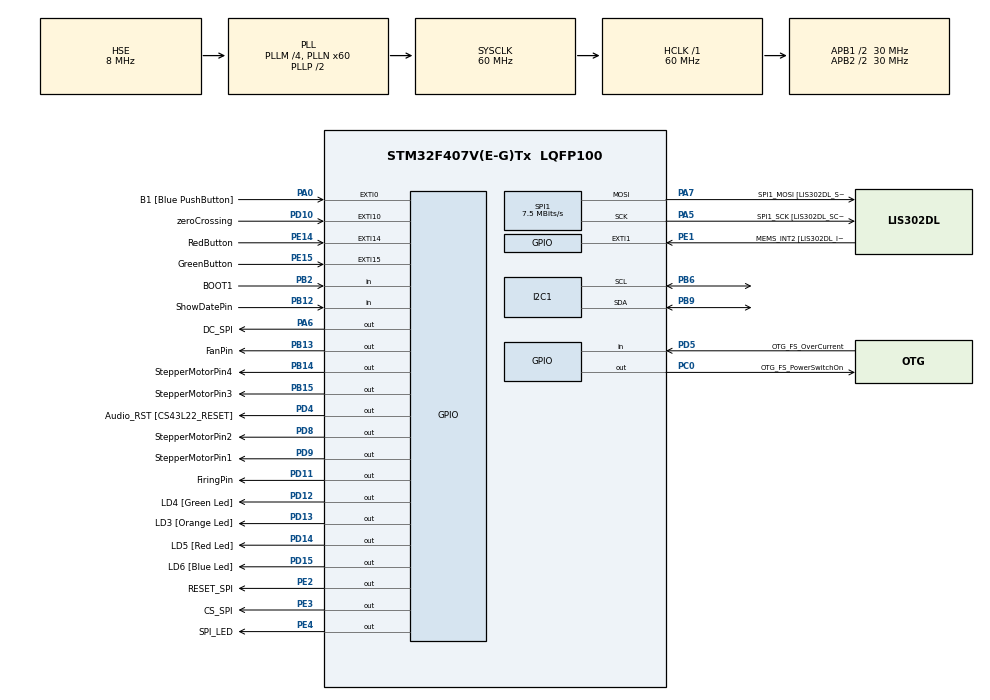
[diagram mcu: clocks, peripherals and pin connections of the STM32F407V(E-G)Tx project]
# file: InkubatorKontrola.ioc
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Mcu.Family=STM32F4
Mcu.Name=STM32F407V(E-G)Tx
Mcu.Package=LQFP100
NVIC.EXTI15_10_IRQn=true\:0\:0\:false\:false\:true\:true\:true
NVIC.PriorityGroup=NVIC_PRIORITYGROUP_0
NVIC.TIM2_IRQn=true\:0\:0\:false\:false\:true\:true\:true
NVIC.TIM5_IRQn=true\:0\:0\:false\:false\:true\:true\:true
PA0-WKUP.GPIO_Label=B1 [Blue PushButton]
PA0-WKUP.GPIO_ModeDefaultEXTI=GPIO_MODE_EVT_RISING
PA0-WKUP.GPIO_PuPd=GPIO_NOPULL
PA0-WKUP.Signal=GPXTI0
PA13.GPIO_Label=SWDIO
PA13.Mode=Serial_Wire
PA13.Signal=SYS_JTMS-SWDIO
PA14.GPIO_Label=SWCLK
PA14.Mode=Serial_Wire
PA14.Signal=SYS_JTCK-SWCLK
PA5.GPIO_Label=SPI1_SCK [LIS302DL_SCL/SPC]
PA5.GPIO_Mode=GPIO_MODE_AF_PP
PA5.GPIO_PuPd=GPIO_NOPULL
PA5.GPIO_Speed=GPIO_SPEED_FREQ_LOW
PA5.Mode=TX_Only_Simplex_Unidirect_Master
PA5.Signal=SPI1_SCK
PA6.GPIO_Label=DC_SPI
PA6.Signal=GPIO_Output
PA7.GPIO_Label=SPI1_MOSI [LIS302DL_SDA/SDI/SDO]
PA7.GPIO_Mode=GPIO_MODE_AF_PP
PA7.GPIO_PuPd=GPIO_NOPULL
PA7.GPIO_Speed=GPIO_SPEED_FREQ_LOW
PA7.Mode=TX_Only_Simplex_Unidirect_Master
PA7.Signal=SPI1_MOSI
PB12.GPIO_Label=ShowDatePin
PB12.Signal=GPIO_Input
PB13.GPIO_Label=FanPin
PB13.Signal=GPIO_Output
PB14.GPIO_Label=StepperMotorPin4
PB14.Signal=GPIO_Output
PB15.GPIO_Label=StepperMotorPin3
PB15.Signal=GPIO_Output
PB2.GPIO_Label=BOOT1
PB2.GPIO_Mode=GPIO_MODE_INPUT
PB2.GPIO_PuPd=GPIO_NOPULL
PB2.Signal=GPIO_Input
PB6.Mode=I2C
PB6.Signal=I2C1_SCL
PB9.Mode=I2C
PB9.Signal=I2C1_SDA
PC0.GPIO_Label=OTG_FS_PowerSwitchOn
PC0.GPIO_PuPd=GPIO_NOPULL
PC0.GPIO_Speed=GPIO_SPEED_FREQ_LOW
PC0.PinState=GPIO_PIN_SET
PC0.Signal=GPIO_Output
PC14-OSC32_IN.GPIO_Label=PC14-OSC32_IN
PC14-OSC32_IN.Mode=LSE-External-Oscillator
PC14-OSC32_IN.Signal=RCC_OSC32_IN
PC15-OSC32_OUT.GPIO_Label=PC15-OSC32_OUT
PC15-OSC32_OUT.Mode=LSE-External-Oscillator
PC15-OSC32_OUT.Signal=RCC_OSC32_OUT
PD10.GPIO_Label=zeroCrossing
PD10.Signal=GPXTI10
PD11.GPIO_Label=FiringPin
PD11.Signal=GPIO_Output
PD12.GPIO_Label=LD4 [Green Led]
PD12.GPIO_PuPd=GPIO_NOPULL
PD12.GPIO_Speed=GPIO_SPEED_FREQ_LOW
PD12.Signal=GPIO_Output
PD13.GPIO_Label=LD3 [Orange Led]
PD13.GPIO_PuPd=GPIO_NOPULL
PD13.GPIO_Speed=GPIO_SPEED_FREQ_LOW
PD13.Signal=GPIO_Output
PD14.GPIO_Label=LD5 [Red Led]
PD14.GPIO_PuPd=GPIO_NOPULL
PD14.GPIO_Speed=GPIO_SPEED_FREQ_LOW
PD14.Signal=GPIO_Output
PD15.GPIO_Label=LD6 [Blue Led]
PD15.GPIO_PuPd=GPIO_NOPULL
PD15.GPIO_Speed=GPIO_SPEED_FREQ_LOW
PD15.Signal=GPIO_Output
PD4.GPIO_Label=Audio_RST [CS43L22_RESET]
PD4.GPIO_PuPd=GPIO_NOPULL
PD4.GPIO_Speed=GPIO_SPEED_FREQ_LOW
PD4.Signal=GPIO_Output
PD5.GPIO_Label=OTG_FS_OverCurrent
PD5.GPIO_Mode=GPIO_MODE_INPUT
PD5.GPIO_PuPd=GPIO_NOPULL
PD5.Signal=GPIO_Input
PD8.GPIO_Label=StepperMotorPin2
PD8.Signal=GPIO_Output
PD9.GPIO_Label=StepperMotorPin1
PD9.Signal=GPIO_Output
PE1.GPIO_Label=MEMS_INT2 [LIS302DL_INT2]
PE1.GPIO_ModeDefaultEXTI=GPIO_MODE_EVT_RISING
PE1.GPIO_PuPd=GPIO_NOPULL
PE1.Signal=GPXTI1
PE14.GPIO_Label=RedButton
PE14.Signal=GPXTI14
PE15.GPIO_Label=GreenButton
PE15.Signal=GPXTI15
PE2.GPIO_Label=RESET_SPI
PE2.Signal=GPIO_Output
PE3.GPIO_Label=CS_SPI
PE3.GPIO_PuPd=GPIO_NOPULL
PE3.GPIO_Speed=GPIO_SPEED_FREQ_LOW
PE3.Signal=GPIO_Output
PE4.GPIO_Label=SPI_LED
PE4.Signal=GPIO_Output
PH0-OSC_IN.GPIO_Label=PH0-OSC_IN
PH0-OSC_IN.Mode=HSE-External-Oscillator
PH0-OSC_IN.Signal=RCC_OSC_IN
PH1-OSC_OUT.GPIO_Label=PH1-OSC_OUT
PH1-OSC_OUT.Mode=HSE-External-Oscillator
PH1-OSC_OUT.Signal=RCC_OSC_OUT
ProjectManager.HeapSize=0x200
ProjectManager.StackSize=0x400
ProjectManager.TargetToolchain=STM32CubeIDE
RCC.48MHZClocksFreq_Value=17142857.14285714
RCC.AHBFreq_Value=60000000
RCC.APB1CLKDivider=RCC_HCLK_DIV2
RCC.APB1Freq_Value=30000000
RCC.APB1TimFreq_Value=60000000
RCC.APB2CLKDivider=RCC_HCLK_DIV2
RCC.APB2Freq_Value=30000000
RCC.APB2TimFreq_Value=60000000
RCC.CortexFreq_Value=60000000
RCC.HCLKFreq_Value=60000000
RCC.HSE_VALUE=8000000
RCC.HSI_VALUE=16000000
RCC.PLLM=4
RCC.PLLN=60
RCC.PLLQ=7
RCC.PLLSourceVirtual=RCC_PLLSOURCE_HSE
RCC.SYSCLKFreq_VALUE=60000000
RCC.SYSCLKSource=RCC_SYSCLKSOURCE_PLLCLK
RCC.VCOOutputFreq_Value=120000000
SPI1.BaudRatePrescaler=SPI_BAUDRATEPRESCALER_4
SPI1.CalculateBaudRate=7.5 MBits/s
SPI1.Direction=SPI_DIRECTION_2LINES
SPI1.Mode=SPI_MODE_MASTER
SPI1.VirtualType=VM_MASTER
TIM2.Period=1
TIM2.Prescaler=59999
TIM2.TIM_MasterOutputTrigger=TIM_TRGO_UPDATE
TIM5.Period=0xfffffff
TIM5.Prescaler=59
TIM5.TIM_MasterOutputTrigger=TIM_TRGO_UPDATE
VP_TIM2_VS_ClockSourceINT.Mode=Internal
VP_TIM5_VS_ClockSourceINT.Mode=Internal
board=STM32F407G-DISC1

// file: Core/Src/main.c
/* USER CODE BEGIN Header */
/**
  ******************************************************************************
  * @file           : main.c
  * @brief          : Main program body
  ******************************************************************************
  * @attention
  *
  * <h2><center>&copy; Copyright (c) 2020 STMicroelectronics.
  * All rights reserved.</center></h2>
  *
  * This software component is licensed by ST under Ultimate Liberty license
  * SLA0044, the "License"; You may not use this file except in compliance with
  * the License. You may obtain a copy of the License at:
  *                             www.st.com/SLA0044
  *
  ******************************************************************************
  */
/* USER CODE END Header */

#include "main.h"

/* USER CODE BEGIN Includes */
#define VAR_DECLS 1
#include "variables.h"
#include "functions.h"
#include "BMP280.h"
#include  <stdbool.h>
#include <stdio.h>
#include <stdlib.h>
#include <string.h>
//#include "unit_tests.h"
/* USER CODE END Includes */

I2C_HandleTypeDef hi2c1;

SPI_HandleTypeDef hspi1;

TIM_HandleTypeDef htim2;
TIM_HandleTypeDef htim5;

/* USER CODE BEGIN PV */
float Kp=14400.00;			//Kp PID kontrolera 1400 OK stavljen 2400 test
float Ki=200.2;				//Ki PID kontrolera-7.2 OK stavljen 10.2 test
float Kd=1.30;				//Kd PID kontrolera
char lcd_string[100];		//string za ispisivanje  na LCD

TIME time; //object struct u koji se upisuju podaci iz stringa
/* USER CODE END PV */

void SystemClock_Config(void);
static void MX_GPIO_Init(void);
static void MX_I2C1_Init(void);
static void MX_SPI1_Init(void);
static void MX_TIM2_Init(void);
static void MX_TIM5_Init(void);
/* USER CODE BEGIN PFP */
//void HAL_TIM_PeriodElapsedCallback(TIM_HandleTypeDef *htim);

/* USER CODE END PFP */

/* USER CODE BEGIN 0 */
static int counter_test=0;
/* USER CODE END 0 */

int main(void)
{
  /* USER CODE BEGIN 1 */

#define TIME_FOR_COMPLETION			30240u
	uint8_t startDay,startMonth,startHour,StartMinute;															//start day,month,hour,minute
	uint8_t currentDay,currentMonth,currentHour,currentMinute,previousHour,previousDay,previousMinute;			//current and previous month,day,hour, minute

 	static uint8_t  remainingDays=0;
 	static uint16_t	remainingHours=0;
 	static uint8_t 	currentDayCnt=0;
 	static uint16_t	remainingMinutes=0;
 	static uint8_t	curentHrsCnt=0;
 	static uint8_t	currentMinCnt=0;
	bool incubationStarted=FALSE;
	bool incubationFinished=FALSE;
	bool stepperControlActive=FALSE;
	static bool daySts=TRUE;
	static bool hourSts=TRUE;
	static bool minSts=TRUE;
	int adrFound=0;
	int RHcnt=0;
	volatile static uint8_t menu_cnt;

  /* USER CODE END 1 */

  /* MCU Configuration--------------------------------------------------------*/

  /* Reset of all peripherals, Initializes the Flash interface and the Systick. */
  HAL_Init();

  /* Configure the system clock */
  SystemClock_Config();

  /* Initialize all configured peripherals */
  MX_GPIO_Init();
  MX_I2C1_Init();
  MX_SPI1_Init();
  MX_TIM2_Init();
  MX_TIM5_Init();
  /* USER CODE BEGIN 2 */
HAL_TIM_Base_Start_IT(&htim2);
HAL_TIM_Base_Start_IT(&htim5);
//lcd initialization and backlight
glcd_init();
glcd_enable_backlight(ENABLE);
//check to see if there is connection on I2C bus
adrFound=find_I2C_deviceAddress();

for(int i=176;i<255;i++)
	{
		if(HAL_I2C_IsDeviceReady(&hi2c1,i,1,10)==HAL_OK)
		{
			break;
		}

	}
//BME280 initialization
BMP280_init(0x57,0x48,0x05);// osrs_t 010 x2, osrs_p 16 101, mode normal 11 // standby time 500ms 100, filter 16 100, SPI DIS 0
BMP280_calc_values();
//Get Time and date values from DS3231 RTC that is connected on I2C bus
getTimeDate_DS3231(DS3231_ADDRESS_I2C);
delay_ms(50);
//Intro menu
start_menu_1();
delay_ms(2000);
//Menu for choosing options;
start_menu_2();
glcd_clear_buffer();
//show_date_and_time();
//delay_ms(2000);
//show_tempAndHumidity();
//delay_ms(2000);
//incub_menu_1(22,22,22);
//delay_ms(2000);
//incub_menu_2(23,23,23);
//start_menu_3();
//glcd_test_circles();
//HAL_NVIC_EnableIRQ(EXTI15_10_IRQn);//Startuje NVIC interrupta za zero crossing
//setTime_DS3231(DS3231_ADDRESS_I2C, 0, 15 ,22 , 0, 13, 12, 20);
  /* USER CODE END 2 */

  /* Infinite loop */
  /* USER CODE BEGIN WHILE */
  while (1)
  {

		  	  //incub_menu_2(22,22,22);	//set default value
		  	 // delay_ms(2000);
		  	  HAL_Delay(100);

		  	  show_tempAndHumidity();

			  //delay_ms(500);
			  getTimeDate_DS3231(DS3231_ADDRESS_I2C);	//extract current time
			  //show_tempAndHumidity();

	  //initialiaziaton of variables
      //extracts current time into variables
	  currentDay=time.date;
	  currentMonth=time.month;
	  currentHour=time.hours;
	  currentMinute=time.minutes;
	  uint8_t InkubStatus=*(ui8_ptrInkubStatus);

	  static uint8_t counter=0;
	  if(TRUE==InkubStatus)
	 {
		  //vadi vreme pocetka inkubacije
		  if(0>=counter)
		  {
			  startDay=time.date;
			  startMonth=time.month;
			  startHour=time.hours;
			  StartMinute=time.minutes;
		  }
		  else
		  {
			  //do nothing
		  }

		  PidKorekcija=PID_control(SETPOINT_TEMP, Kp,Ki,Kd,temperature);
		  HAL_GPIO_WritePin(FanPin_GPIO_Port, FanPin_Pin, GPIO_PIN_SET);//Turn ON FAN

		  counter++;
		  if(255==counter)
		  {
			  counter=1; //counter reset when it overflows
		  }
		  //TODO MM to add calculation for time remaining,
		  //days comparesescent
		  if(TRUE==daySts)
		  {
			  previousDay=currentDay;
			  currentDayCnt=0;
			  daySts=false;
		  }
		  else if(previousDay != currentDay)
		  {
			  currentDayCnt++;
			  previousDay=currentDay;
		  }
		  //hours comparesescent
		  if(TRUE==hourSts)
		  {
			  previousHour=currentHour;
			  curentHrsCnt=0;
			  hourSts=FALSE;
		  }
		 else if(previousHour != currentHour)
		 {
			 curentHrsCnt++;
			 previousHour=currentHour;
			 stepperControlActive=TRUE;
		  }
		  //minutes comparesescent
 		  if(TRUE==minSts)
 		  {
 			  previousMinute=currentMinute;
 			  currentMinCnt=0;
 			  minSts=FALSE;
 		  }
 		 else if(previousMinute != currentMinute)
 		 {
 			currentMinCnt++;
 			previousMinute=currentMinute;
 		  }

 		  	  counter_test++;
 		  	  //Days remaining
			  remainingDays=(TIME_FOR_COMPLETION/1440)-currentDayCnt;
			  //Hours remaining
			  remainingHours=(TIME_FOR_COMPLETION/60)-curentHrsCnt;
			  remainingHours%=24;		//hours for 21 days
			  //Minutes remaining
			  remainingMinutes=TIME_FOR_COMPLETION-currentMinCnt;
			  remainingMinutes%=60;	  //minutes for 21 days

			  if(0==remainingDays)
			  {
			  	currentDayCnt=0; //reset days counter

			  	if(0==remainingHours)
			  	{

			  		if(0==remainingMinutes)
			  		{
			  			incubationFinished=TRUE; //zavrsena inkubacija
			  		}
			  		else
			  		{
			  			//do nothing
			  		}

			  	}
			  	else
			  	{
			  		//do nothing
			  	}

			  }
			  else
			  {
				  //do nothing
			  }

			  delay_ms(1);

	  }
	  else if(true==incubationFinished)
	  {
		  counter=0; 						//returns counter to zero, to start incubation from begining
		  incubationStarted=FALSE;		   //puts incubation status into false, because incubation is not active
		  HAL_GPIO_WritePin(FanPin_GPIO_Port, FanPin_Pin, GPIO_PIN_RESET);//Turn OFF FAN10
	  }

		delay_ms(1);

		  //Turning of eggs at each hour in time of incubation for 19 days
		if(19>currentDayCnt)
		  {
			  if(TRUE==stepperControlActive)
			  {
				  stepperMotorControlFD(5);			//turns the eggs
			   	  stepperControlActive=FALSE;		//resets the state for stepper motor ctivation
			  }

		   }

	  }

    /* USER CODE END WHILE */

    /* USER CODE BEGIN 3 */
#undef TIME_FOR_COMPLETION
  /* USER CODE END 3 */
}

void SystemClock_Config(void)
{
  RCC_OscInitTypeDef RCC_OscInitStruct = {0};
  RCC_ClkInitTypeDef RCC_ClkInitStruct = {0};

  /** Configure the main internal regulator output voltage
  */
  __HAL_RCC_PWR_CLK_ENABLE();
  __HAL_PWR_VOLTAGESCALING_CONFIG(PWR_REGULATOR_VOLTAGE_SCALE1);
  /** Initializes the CPU, AHB and APB busses clocks
  */
  RCC_OscInitStruct.OscillatorType = RCC_OSCILLATORTYPE_HSE;
  RCC_OscInitStruct.HSEState = RCC_HSE_ON;
  RCC_OscInitStruct.PLL.PLLState = RCC_PLL_ON;
  RCC_OscInitStruct.PLL.PLLSource = RCC_PLLSOURCE_HSE;
  RCC_OscInitStruct.PLL.PLLM = 4;
  RCC_OscInitStruct.PLL.PLLN = 60;
  RCC_OscInitStruct.PLL.PLLP = RCC_PLLP_DIV2;
  RCC_OscInitStruct.PLL.PLLQ = 7;
  if (HAL_RCC_OscConfig(&RCC_OscInitStruct) != HAL_OK)
  {
    Error_Handler();
  }
  /** Initializes the CPU, AHB and APB busses clocks
  */
  RCC_ClkInitStruct.ClockType = RCC_CLOCKTYPE_HCLK|RCC_CLOCKTYPE_SYSCLK
                              |RCC_CLOCKTYPE_PCLK1|RCC_CLOCKTYPE_PCLK2;
  RCC_ClkInitStruct.SYSCLKSource = RCC_SYSCLKSOURCE_PLLCLK;
  RCC_ClkInitStruct.AHBCLKDivider = RCC_SYSCLK_DIV1;
  RCC_ClkInitStruct.APB1CLKDivider = RCC_HCLK_DIV2;
  RCC_ClkInitStruct.APB2CLKDivider = RCC_HCLK_DIV2;

  if (HAL_RCC_ClockConfig(&RCC_ClkInitStruct, FLASH_LATENCY_1) != HAL_OK)
  {
    Error_Handler();
  }
}

static void MX_I2C1_Init(void)
{

  hi2c1.Instance = I2C1;
  hi2c1.Init.ClockSpeed = 100000;
  hi2c1.Init.DutyCycle = I2C_DUTYCYCLE_2;
  hi2c1.Init.OwnAddress1 = 0;
  hi2c1.Init.AddressingMode = I2C_ADDRESSINGMODE_7BIT;
  hi2c1.Init.DualAddressMode = I2C_DUALADDRESS_DISABLE;
  hi2c1.Init.OwnAddress2 = 0;
  hi2c1.Init.GeneralCallMode = I2C_GENERALCALL_DISABLE;
  hi2c1.Init.NoStretchMode = I2C_NOSTRETCH_DISABLE;
  if (HAL_I2C_Init(&hi2c1) != HAL_OK)
  {
    Error_Handler();
  }

}

static void MX_SPI1_Init(void)
{

  /* SPI1 parameter configuration*/
  hspi1.Instance = SPI1;
  hspi1.Init.Mode = SPI_MODE_MASTER;
  hspi1.Init.Direction = SPI_DIRECTION_2LINES;
  hspi1.Init.DataSize = SPI_DATASIZE_8BIT;
  hspi1.Init.CLKPolarity = SPI_POLARITY_LOW;
  hspi1.Init.CLKPhase = SPI_PHASE_1EDGE;
  hspi1.Init.NSS = SPI_NSS_SOFT;
  hspi1.Init.BaudRatePrescaler = SPI_BAUDRATEPRESCALER_4;
  hspi1.Init.FirstBit = SPI_FIRSTBIT_MSB;
  hspi1.Init.TIMode = SPI_TIMODE_DISABLE;
  hspi1.Init.CRCCalculation = SPI_CRCCALCULATION_DISABLE;
  hspi1.Init.CRCPolynomial = 10;
  if (HAL_SPI_Init(&hspi1) != HAL_OK)
  {
    Error_Handler();
  }

}

static void MX_TIM2_Init(void)
{

  TIM_ClockConfigTypeDef sClockSourceConfig = {0};
  TIM_MasterConfigTypeDef sMasterConfig = {0};

  htim2.Instance = TIM2;
  htim2.Init.Prescaler = 59999;
  htim2.Init.CounterMode = TIM_COUNTERMODE_UP;
  htim2.Init.Period = 1;
  htim2.Init.ClockDivision = TIM_CLOCKDIVISION_DIV1;
  htim2.Init.AutoReloadPreload = TIM_AUTORELOAD_PRELOAD_DISABLE;
  if (HAL_TIM_Base_Init(&htim2) != HAL_OK)
  {
    Error_Handler();
  }
  sClockSourceConfig.ClockSource = TIM_CLOCKSOURCE_INTERNAL;
  if (HAL_TIM_ConfigClockSource(&htim2, &sClockSourceConfig) != HAL_OK)
  {
    Error_Handler();
  }
  sMasterConfig.MasterOutputTrigger = TIM_TRGO_UPDATE;
  sMasterConfig.MasterSlaveMode = TIM_MASTERSLAVEMODE_DISABLE;
  if (HAL_TIMEx_MasterConfigSynchronization(&htim2, &sMasterConfig) != HAL_OK)
  {
    Error_Handler();
  }

}

static void MX_TIM5_Init(void)
{

  TIM_ClockConfigTypeDef sClockSourceConfig = {0};
  TIM_MasterConfigTypeDef sMasterConfig = {0};

  htim5.Instance = TIM5;
  htim5.Init.Prescaler = 59;
  htim5.Init.CounterMode = TIM_COUNTERMODE_UP;
  htim5.Init.Period = 0xfffffff;
  htim5.Init.ClockDivision = TIM_CLOCKDIVISION_DIV1;
  htim5.Init.AutoReloadPreload = TIM_AUTORELOAD_PRELOAD_DISABLE;
  if (HAL_TIM_Base_Init(&htim5) != HAL_OK)
  {
    Error_Handler();
  }
  sClockSourceConfig.ClockSource = TIM_CLOCKSOURCE_INTERNAL;
  if (HAL_TIM_ConfigClockSource(&htim5, &sClockSourceConfig) != HAL_OK)
  {
    Error_Handler();
  }
  sMasterConfig.MasterOutputTrigger = TIM_TRGO_UPDATE;
  sMasterConfig.MasterSlaveMode = TIM_MASTERSLAVEMODE_DISABLE;
  if (HAL_TIMEx_MasterConfigSynchronization(&htim5, &sMasterConfig) != HAL_OK)
  {
    Error_Handler();
  }

}

static void MX_GPIO_Init(void)
{
  GPIO_InitTypeDef GPIO_InitStruct = {0};

  /* GPIO Ports Clock Enable */
  __HAL_RCC_GPIOE_CLK_ENABLE();
  __HAL_RCC_GPIOC_CLK_ENABLE();
  __HAL_RCC_GPIOH_CLK_ENABLE();
  __HAL_RCC_GPIOA_CLK_ENABLE();
  __HAL_RCC_GPIOB_CLK_ENABLE();
  __HAL_RCC_GPIOD_CLK_ENABLE();

  /*Configure GPIO pin Output Level */
  HAL_GPIO_WritePin(GPIOE, RESET_SPI_Pin|CS_SPI_Pin|SPI_LED_Pin, GPIO_PIN_RESET);

  /*Configure GPIO pin Output Level */
  HAL_GPIO_WritePin(OTG_FS_PowerSwitchOn_GPIO_Port, OTG_FS_PowerSwitchOn_Pin, GPIO_PIN_SET);

  /*Configure GPIO pin Output Level */
  HAL_GPIO_WritePin(DC_SPI_GPIO_Port, DC_SPI_Pin, GPIO_PIN_RESET);

  /*Configure GPIO pin Output Level */
  HAL_GPIO_WritePin(GPIOB, FanPin_Pin|StepperMotorPin4_Pin|StepperMotorPin3_Pin, GPIO_PIN_RESET);

  /*Configure GPIO pin Output Level */
  HAL_GPIO_WritePin(GPIOD, StepperMotorPin2_Pin|StepperMotorPin1_Pin|FiringPin_Pin|LD4_Pin
                          |LD3_Pin|LD5_Pin|LD6_Pin|Audio_RST_Pin, GPIO_PIN_RESET);

  /*Configure GPIO pins : RESET_SPI_Pin CS_SPI_Pin SPI_LED_Pin */
  GPIO_InitStruct.Pin = RESET_SPI_Pin|CS_SPI_Pin|SPI_LED_Pin;
  GPIO_InitStruct.Mode = GPIO_MODE_OUTPUT_PP;
  GPIO_InitStruct.Pull = GPIO_NOPULL;
  GPIO_InitStruct.Speed = GPIO_SPEED_FREQ_LOW;
  HAL_GPIO_Init(GPIOE, &GPIO_InitStruct);

  /*Configure GPIO pin : OTG_FS_PowerSwitchOn_Pin */
  GPIO_InitStruct.Pin = OTG_FS_PowerSwitchOn_Pin;
  GPIO_InitStruct.Mode = GPIO_MODE_OUTPUT_PP;
  GPIO_InitStruct.Pull = GPIO_NOPULL;
  GPIO_InitStruct.Speed = GPIO_SPEED_FREQ_LOW;
  HAL_GPIO_Init(OTG_FS_PowerSwitchOn_GPIO_Port, &GPIO_InitStruct);

  /*Configure GPIO pin : B1_Pin */
  GPIO_InitStruct.Pin = B1_Pin;
  GPIO_InitStruct.Mode = GPIO_MODE_EVT_RISING;
  GPIO_InitStruct.Pull = GPIO_NOPULL;
  HAL_GPIO_Init(B1_GPIO_Port, &GPIO_InitStruct);

  /*Configure GPIO pin : DC_SPI_Pin */
  GPIO_InitStruct.Pin = DC_SPI_Pin;
  GPIO_InitStruct.Mode = GPIO_MODE_OUTPUT_PP;
  GPIO_InitStruct.Pull = GPIO_NOPULL;
  GPIO_InitStruct.Speed = GPIO_SPEED_FREQ_LOW;
  HAL_GPIO_Init(DC_SPI_GPIO_Port, &GPIO_InitStruct);

  /*Configure GPIO pins : BOOT1_Pin ShowDatePin_Pin */
  GPIO_InitStruct.Pin = BOOT1_Pin|ShowDatePin_Pin;
  GPIO_InitStruct.Mode = GPIO_MODE_INPUT;
  GPIO_InitStruct.Pull = GPIO_NOPULL;
  HAL_GPIO_Init(GPIOB, &GPIO_InitStruct);

  /*Configure GPIO pins : RedButton_Pin GreenButton_Pin */
  GPIO_InitStruct.Pin = RedButton_Pin|GreenButton_Pin;
  GPIO_InitStruct.Mode = GPIO_MODE_IT_RISING;
  GPIO_InitStruct.Pull = GPIO_NOPULL;
  HAL_GPIO_Init(GPIOE, &GPIO_InitStruct);

  /*Configure GPIO pins : FanPin_Pin StepperMotorPin4_Pin StepperMotorPin3_Pin */
  GPIO_InitStruct.Pin = FanPin_Pin|StepperMotorPin4_Pin|StepperMotorPin3_Pin;
  GPIO_InitStruct.Mode = GPIO_MODE_OUTPUT_PP;
  GPIO_InitStruct.Pull = GPIO_NOPULL;
  GPIO_InitStruct.Speed = GPIO_SPEED_FREQ_LOW;
  HAL_GPIO_Init(GPIOB, &GPIO_InitStruct);

  /*Configure GPIO pins : StepperMotorPin2_Pin StepperMotorPin1_Pin FiringPin_Pin LD4_Pin
                           LD3_Pin LD5_Pin LD6_Pin Audio_RST_Pin */
  GPIO_InitStruct.Pin = StepperMotorPin2_Pin|StepperMotorPin1_Pin|FiringPin_Pin|LD4_Pin
                          |LD3_Pin|LD5_Pin|LD6_Pin|Audio_RST_Pin;
  GPIO_InitStruct.Mode = GPIO_MODE_OUTPUT_PP;
  GPIO_InitStruct.Pull = GPIO_NOPULL;
  GPIO_InitStruct.Speed = GPIO_SPEED_FREQ_LOW;
  HAL_GPIO_Init(GPIOD, &GPIO_InitStruct);

  /*Configure GPIO pin : zeroCrossing_Pin */
  GPIO_InitStruct.Pin = zeroCrossing_Pin;
  GPIO_InitStruct.Mode = GPIO_MODE_IT_RISING;
  GPIO_InitStruct.Pull = GPIO_NOPULL;
  HAL_GPIO_Init(zeroCrossing_GPIO_Port, &GPIO_InitStruct);

  /*Configure GPIO pin : OTG_FS_OverCurrent_Pin */
  GPIO_InitStruct.Pin = OTG_FS_OverCurrent_Pin;
  GPIO_InitStruct.Mode = GPIO_MODE_INPUT;
  GPIO_InitStruct.Pull = GPIO_NOPULL;
  HAL_GPIO_Init(OTG_FS_OverCurrent_GPIO_Port, &GPIO_InitStruct);

  /*Configure GPIO pin : MEMS_INT2_Pin */
  GPIO_InitStruct.Pin = MEMS_INT2_Pin;
  GPIO_InitStruct.Mode = GPIO_MODE_EVT_RISING;
  GPIO_InitStruct.Pull = GPIO_NOPULL;
  HAL_GPIO_Init(MEMS_INT2_GPIO_Port, &GPIO_InitStruct);

  /* EXTI interrupt init*/
  HAL_NVIC_SetPriority(EXTI15_10_IRQn, 0, 0);
  HAL_NVIC_EnableIRQ(EXTI15_10_IRQn);

}

/* USER CODE BEGIN 4 */
void delay_us(unsigned long delay_us)
{
	__HAL_TIM_SET_COUNTER(&htim5,0);
 	while(__HAL_TIM_GET_COUNTER(&htim5)<delay_us);
}
void delay_ms(unsigned long delay_ms)
{		//htim2.Init.Period razlika u odnosu na delay_us
		//__HAL_TIM_SET_COUNTER(&htim2,0);
		count_TIM2=0;
		while(count_TIM2<delay_ms);

}
unsigned long millis(void)
{

	unsigned long temp;
	temp= (unsigned long) HAL_GetTick();
	 return temp;
}
void HAL_GPIO_EXTI_Callback(uint16_t GPIO_Pin)
{
  /* Prevent unused argument(s) compilation warning */
	if(GPIO_Pin==zeroCrossing_Pin)
	{
		zero_croosing=1;//true
	}
	else
	{
		__NOP();
	}
  /* NOTE: This function Should not be modified, when the callback is needed,
           the HAL_GPIO_EXTI_Callback could be implemented in the user file
   */
}

/* USER CODE END 4 */

void Error_Handler(void)
{
}

/************************ (C) COPYRIGHT STMicroelectronics *****END OF FILE****/
